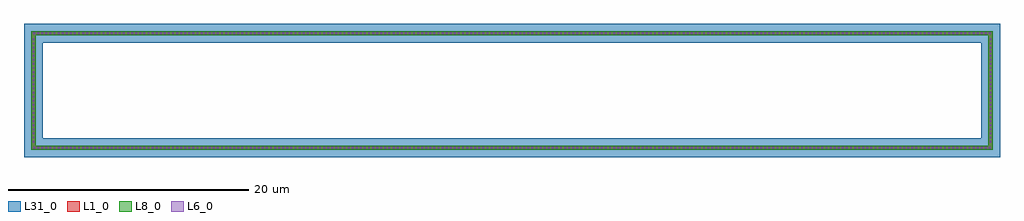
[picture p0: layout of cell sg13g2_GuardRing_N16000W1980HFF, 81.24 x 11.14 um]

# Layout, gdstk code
import gdstk
lib = gdstk.Library(unit=1e-6, precision=1e-09)
def R(c, l, rs):  # rectangles x0, y0, x1, y1
    for r in rs: c.add(gdstk.rectangle(r[:2], r[2:], *l))
def A(c, l, x, y, w, h, nx, ny, dx, dy):  # array of equal rectangles
    R(c, l, [(x+i*dx, y+j*dy, x+i*dx+w, y+j*dy+h) for i in range(nx) for j in range(ny)])
def P(c, l, *ps):  # polygons
    for p in ps: c.add(gdstk.Polygon(p, *l))
L1_0 = (1, 0)
L6_0 = (6, 0)
L8_0 = (8, 0)
L31_0 = (31, 0)

sg13g2_guardring_n16000w = lib.new_cell('sg13g2_GuardRing_N16000W1980HFF')
P(sg13g2_guardring_n16000w, L1_0, [(-40,-4.95),(-40,4.61),(-39.66,4.61),(-39.66,-4.61),(39.66,-4.61),(39.66,4.61),(-40,4.61),(-40,4.95),(40,4.95),(40,-4.95)])
A(sg13g2_guardring_n16000w, L6_0, -39.86, -4.86, 0.16, 0.16, 235, 2, 0.34, 9.56)
A(sg13g2_guardring_n16000w, L6_0, -39.91, -4.33, 0.16, 0.16, 1, 26, 0, 0.34)
A(sg13g2_guardring_n16000w, L6_0, 39.75, -4.33, 0.16, 0.16, 1, 26, 0, 0.34)
P(sg13g2_guardring_n16000w, L8_0, [(-40,-4.95),(-40,4.61),(-39.66,4.61),(-39.66,-4.61),(39.66,-4.61),(39.66,4.61),(-40,4.61),(-40,4.95),(40,4.95),(40,-4.95)])
P(sg13g2_guardring_n16000w, L31_0, [(-40.62,-5.57),(-40.62,3.99),(-39.04,3.99),(-39.04,-3.99),(39.04,-3.99),(39.04,3.99),(-40.62,3.99),(-40.62,5.57),(40.62,5.57),(40.62,-5.57)])

lib.write_gds('sg13g2_GuardRing_N16000W1980HFF.gds')
